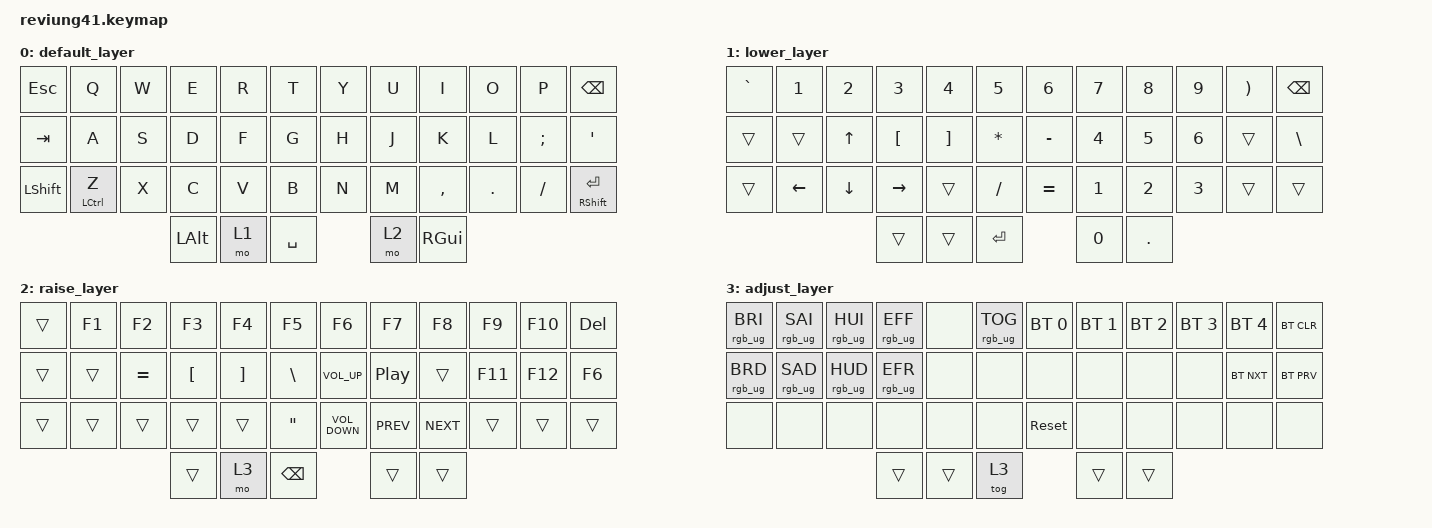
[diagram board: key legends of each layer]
/*
 * Copyright (c) 2020 The ZMK Contributors
 *
 * SPDX-License-Identifier: MIT
 */

#include <behaviors.dtsi>
#include <dt-bindings/zmk/bt.h>
#include <dt-bindings/zmk/keys.h>
#include <dt-bindings/zmk/rgb.h>

/ {
    keymap {
        compatible = "zmk,keymap";

        default_layer {
            // -------------------------------------------------------------------------------------
            // |  TAB |  Q  |  W  |  E  |  R  |  T  |   |  Y  |  U   |  I  |  O  |  P  |   BKSP    |
            // | CTRL |  A  |  S  |  D  |  F  |  G  |   |  H  |  J   |  K  |  L  |  ;  |    '      |
            // | SHFT |  Z  |  X  |  C  |  V  |  B  |   |  N  |  M   |  ,  |  .  |  /  | SHFT(RET) |
            //                         | ALT | LWR | SPC | RSE  | ALT |

            bindings = <
&kp ESCAPE  &kp Q        &kp W  &kp E     &kp R  &kp T             &kp Y  &kp U  &kp I      &kp O    &kp P     &kp BSPC
&kp TAB     &kp A        &kp S  &kp D     &kp F  &kp G             &kp H  &kp J  &kp K      &kp L    &kp SEMI  &kp SQT
&kp LSHFT   &mt LCTRL Z  &kp X  &kp C     &kp V  &kp B             &kp N  &kp M  &kp COMMA  &kp DOT  &kp FSLH  &mt RSHFT RET
                                &kp LALT  &mo 1         &kp SPACE         &mo 2  &kp RGUI
            >;
        };

        lower_layer {
            // ------------------------------------------------------------------------------------
            // |    |  !  |  @  |  #  |  $  |  %  |   |  ^  |  &  |  *  |  (  |  )  |      DEL    |
            // |    |  _  |  +  |  {  |  }  | "|" |   | LFT | DWN |  UP | RGT |  `  |       ~     |
            // |    | ESC | GUI | ALT | CAPS|  "  |   | HOME| END | PGUP| PGDN| PRSC| SHFT(SPACE) |
            //                       |     |     | RET | ADJ |     |

            bindings = <
&kp GRAVE  &kp NUMBER_1    &kp NUMBER_2    &kp NUMBER_3      &kp NUMBER_4       &kp N5              &kp NUMBER_6  &kp NUMBER_7  &kp N8        &kp N9        &kp RPAR  &kp BACKSPACE
&trans     &trans          &kp UP_ARROW    &kp LEFT_BRACKET  &kp RIGHT_BRACKET  &kp STAR            &kp MINUS     &kp NUMBER_4  &kp N5        &kp NUMBER_6  &trans    &kp BACKSLASH
&trans     &kp LEFT_ARROW  &kp DOWN_ARROW  &kp RIGHT_ARROW   &trans             &kp SLASH           &kp EQUAL     &kp NUMBER_1  &kp NUMBER_2  &kp NUMBER_3  &trans    &trans
                                           &trans            &trans                        &kp RET                &kp N0        &kp PERIOD
            >;
        };

        raise_layer {
            // ----------------------------------------------------------------------------
            // |    |  1  |  2  |  3  |  4  |  5  |   |  6  |  7  |  8  |  9  |  0  | DEL |
            // |    |  -  |  =  |  [  |  ]  |  \  |   | F1  | F2  | F3  | F4  | F5  | F6  |
            // |    | ESC | GUI | ALT | CAPS|  "  |   | F7  | F8  | F9  | F10 | F11 | F12 |
            //                       |     | ADJ | BKSP |    |     |

            bindings = <
&trans  &kp F1  &kp F2     &kp F3    &kp F4    &kp F5              &kp F6             &kp F7            &kp F8      &kp F9   &kp F10  &kp DEL
&trans  &trans  &kp EQUAL  &kp LBKT  &kp RBKT  &kp BSLH            &kp C_VOLUME_UP    &kp C_PLAY_PAUSE  &trans      &kp F11  &kp F12  &kp F6
&trans  &trans  &trans     &trans    &trans    &kp DQT             &kp C_VOLUME_DOWN  &kp C_PREV        &kp C_NEXT  &trans   &trans   &trans
                           &trans    &mo 3               &kp BSPC                     &trans            &trans
            >;
        };

        adjust_layer {
            // -----------------------------------------------------------------------------------------
            // | RGB BRI+ | RGB SAT+ | RGB HUE+ | RGB ANI+ |    | RGB TOG |   |  BT1  | BT2 | BT3 | BT4 | BT5 | BT CLR |
            // | RGB BRI- | RGB SAT- | RGB HUE- | RGB ANI- |    |         |   |       |     |     |     |     |        |
            // |          |          |          |          |    |         |   | RESET |     |     |     |     |        |
            //                                              |     |     |     |     |     |

            bindings = <
&rgb_ug RGB_BRI  &rgb_ug RGB_SAI  &rgb_ug RGB_HUI  &rgb_ug RGB_EFF  &none   &rgb_ug RGB_TOG          &bt BT_SEL 0  &bt BT_SEL 1  &bt BT_SEL 2  &bt BT_SEL 3  &bt BT_SEL 4  &bt BT_CLR
&rgb_ug RGB_BRD  &rgb_ug RGB_SAD  &rgb_ug RGB_HUD  &rgb_ug RGB_EFR  &none   &none                    &none         &none         &none         &none         &bt BT_NXT    &bt BT_PRV
&none            &none            &none            &none            &none   &none                    &sys_reset    &none         &none         &none         &none         &none
                                                   &trans           &trans                   &tog 3                &trans        &trans
            >;
        };
    };
};
